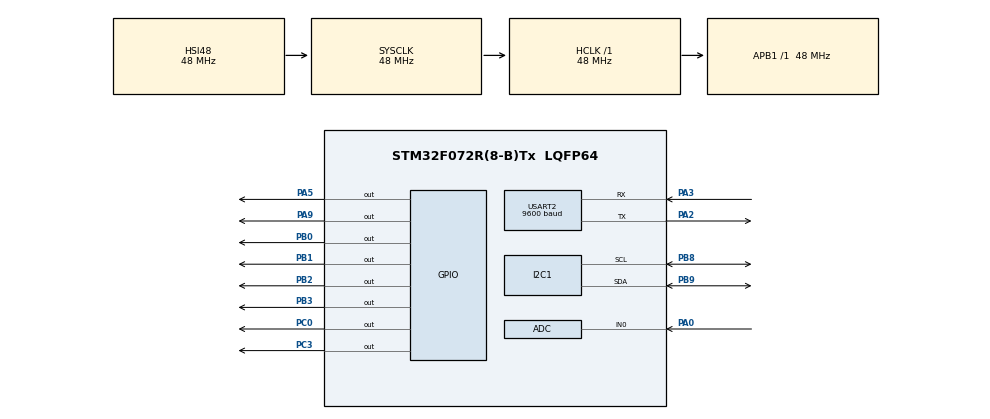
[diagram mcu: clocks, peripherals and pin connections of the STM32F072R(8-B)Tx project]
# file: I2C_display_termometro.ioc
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ADC.SamplingTime=ADC_SAMPLETIME_1CYCLE_5
Mcu.Family=STM32F0
Mcu.Name=STM32F072R(8-B)Tx
Mcu.Package=LQFP64
NVIC.ADC1_COMP_IRQn=true\:0\:0\:false\:false\:true\:true\:true
NVIC.I2C1_IRQn=true\:0\:0\:false\:false\:true\:true\:true
NVIC.TIM7_IRQn=true\:0\:0\:false\:false\:true\:true\:true
NVIC.USART2_IRQn=true\:0\:0\:false\:false\:true\:true\:true
PA0.Mode=IN0
PA0.Signal=ADC_IN0
PA2.Mode=Asynchronous
PA2.Signal=USART2_TX
PA3.Mode=Asynchronous
PA3.Signal=USART2_RX
PA5.Signal=GPIO_Output
PA9.Signal=GPIO_Output
PB0.Signal=GPIO_Output
PB1.Signal=GPIO_Output
PB2.Signal=GPIO_Output
PB3.Signal=GPIO_Output
PB8.Mode=I2C
PB8.Signal=I2C1_SCL
PB9.Mode=I2C
PB9.Signal=I2C1_SDA
PC0.Signal=GPIO_Output
PC3.Signal=GPIO_Output
ProjectManager.HeapSize=0x200
ProjectManager.StackSize=0x400
ProjectManager.TargetToolchain=MDK-ARM V5.27
RCC.AHBFreq_Value=48000000
RCC.APB1Freq_Value=48000000
RCC.APB1TimFreq_Value=48000000
RCC.HCLKFreq_Value=48000000
RCC.SYSCLKFreq_VALUE=48000000
RCC.SYSCLKSource=RCC_SYSCLKSOURCE_HSI48
TIM7.Period=48000
USART2.BaudRate=9600
USART2.VirtualMode-Asynchronous=VM_ASYNC
VP_ADC_Vref_Input.Mode=IN-Vrefint
VP_TIM7_VS_ClockSourceINT.Mode=Enable_Timer
board=custom

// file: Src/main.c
/* USER CODE BEGIN Header */
/**
  ******************************************************************************
  * @file           : main.c
  * @brief          : Main program body
  ******************************************************************************
  * @attention
  *
  * <h2><center>&copy; Copyright (c) 2019 STMicroelectronics.
  * All rights reserved.</center></h2>
  *
  * This software component is licensed by ST under BSD 3-Clause license,
  * the "License"; You may not use this file except in compliance with the
  * License. You may obtain a copy of the License at:
  *                        opensource.org/licenses/BSD-3-Clause
  *
  ******************************************************************************
  */
/* USER CODE END Header */

#include "main.h"

/* USER CODE BEGIN Includes */
extern int vec[3];
extern int wait;
extern int loops;
extern void led();
char * puntatore;
char msg[]={'P','o','t',':','.','.','.','.','.','%'};
int i=0;
int loaded=0;
int lenght_da_trasmettere;
//uint8_t initdata[]={0x38,0x39,0x14,0x74,0x54,0x6F,0x0F,0x01};
char initdata[]={0x00,0x38,0x00,0x39,0x00,0x14,0x00,0x74,0x00,0x54,0x00,0x6F,0x00,0x0F,0x00,0x01};
//int j=8;
int NBYTES =(2<<16);
extern int j;
/* USER CODE END Includes */

/* USER CODE BEGIN PTD */
/*
Descrizione del programma I2C display termometro.
L'obiettivo di questo programma è scrivere su un display la temperatura registrata dal termometro e
il potenziale registrato da una manopolo letta dall'adc.
è necessario dividere il programma in più parti:
-prima
*/
void wait_tim(){
	led();
	wait=1;
	TIM7->CNT=0;
	TIM7->SR=0;
	TIM7->CR1|=TIM_CR1_CEN;
	while(wait){}
	led();
}
/* USER CODE END PTD */

/* USER CODE BEGIN PD */
#define LCD_ADDRESS (0X3E<<1) //indirizzo lcd, ruotato a sx per lasciare bit di r/w
#define LM76_ADDRESS (0X48<<1) //indirizzo termometro
/* USER CODE END PD */

ADC_HandleTypeDef hadc;

I2C_HandleTypeDef hi2c1;

TIM_HandleTypeDef htim7;

UART_HandleTypeDef huart2;

void SystemClock_Config(void);
static void MX_GPIO_Init(void);
static void MX_ADC_Init(void);
static void MX_I2C1_Init(void);
static void MX_TIM7_Init(void);
static void MX_USART2_UART_Init(void);

int main(void)
{

  /* MCU Configuration--------------------------------------------------------*/

  /* Reset of all peripherals, Initializes the Flash interface and the Systick. */
  HAL_Init();

  /* Configure the system clock */
  SystemClock_Config();

  /* Initialize all configured peripherals */
  MX_GPIO_Init();
  MX_ADC_Init();
  MX_I2C1_Init();
  MX_TIM7_Init();
  MX_USART2_UART_Init();
  /* USER CODE BEGIN 2 */

	//abilito gli interrupt
	//del timer
	TIM7->SR=0;
	TIM7->DIER|=TIM_DIER_UIE;
	//e dell'adc

	ADC1->IER|=ADC_IER_ADRDYIE;
	ADC1->IER|=ADC_IER_EOCIE;

	//abilito e configuro l'adc
	//se fosse già abilitato lo disabilito per fare la calibrazione
	if ((ADC1->CR & ADC_CR_ADEN) != 0)
	{
		ADC1->CR |= ADC_CR_ADDIS;
	}
	//aspetto che non sia piu enable
	while ((ADC1->CR & ADC_CR_ADEN) != 0){}
	//faccio la calibrazione
	ADC1->CR|=ADC_CR_ADCAL;
	//ed aspetto che abbia finito
	while((ADC1->CR & ADC_CR_ADCAL)==ADC_CR_ADCAL){}
	//se adrdy fosse 1 la metto a 0
	if ((ADC1->ISR & ADC_ISR_ADRDY) != 0)
	{
		ADC1->ISR |= ADC_ISR_ADRDY;
	}
	//abilito
	ADC1->CHSELR&=~ADC_CHSELR_CHSEL0;
	ADC1->CR|=ADC_CR_ADEN;
	//verra triggerato l'interrupt quando sarà pronto

	//adesso dovrebbe essere stato registrato il valore vrefint_data
	//aspetto 1 millisecondo
	loops=1;
	wait_tim();

	//cambio il canale da cui leggere il dato nell'adc
	ADC1->CHSELR&=~ADC_CHSELR_CHSEL17;
	ADC1->CHSELR|=ADC_CHSELR_CHSEL0;
	//faccio ripartire la lettura
	ADC1->CR|=ADC_CR_ADSTART;

	//aspetto 10 millisecondi
	loops=100;
	wait_tim();

	//trasmetto con la USART
	//reset del interrupt control register al bit trasmission completed
	/*USART2->ICR |= USART_ICR_TCCF;
	//abilito l'interrupt per la trasmissione
	USART2->CR1 |= USART_CR1_TCIE;
	//abilito l'interrupt per la ricezione
	USART2->CR1 |= USART_CR1_RXNEIE;*/
	//inizio a trasmettere il messaggio

	//USART2->TDR=*puntatore;

	loops=10;
	wait_tim();
	GPIOA->ODR |= GPIO_ODR_5;
	loops=10;
	wait_tim();

	//inizio a lavorare con 'i2c
	I2C1->CR1|=I2C_CR1_RXIE;
	I2C1->CR1|=I2C_CR1_TXIE;
	I2C1->CR2|=I2C_CR2_AUTOEND;
	I2C1->CR1|=I2C_CR1_STOPIE;

	I2C1->CR2 |= NBYTES; //Setta il registro degli NBYTES al valore stabilito
	I2C1->CR2 |= LCD_ADDRESS; //Dà l'indirizzo dello schermo al microcontrollore
	I2C1->CR2 |= I2C_CR2_START; //Dà lo start-bit

  /* USER CODE END 2 */

  /* Infinite loop */
  while (1)
  {

  }
}

void SystemClock_Config(void)
{
  RCC_OscInitTypeDef RCC_OscInitStruct = {0};
  RCC_ClkInitTypeDef RCC_ClkInitStruct = {0};
  RCC_PeriphCLKInitTypeDef PeriphClkInit = {0};

  /** Initializes the CPU, AHB and APB busses clocks
  */
  RCC_OscInitStruct.OscillatorType = RCC_OSCILLATORTYPE_HSI|RCC_OSCILLATORTYPE_HSI14
                              |RCC_OSCILLATORTYPE_HSI48;
  RCC_OscInitStruct.HSIState = RCC_HSI_ON;
  RCC_OscInitStruct.HSI48State = RCC_HSI48_ON;
  RCC_OscInitStruct.HSI14State = RCC_HSI14_ON;
  RCC_OscInitStruct.HSICalibrationValue = RCC_HSICALIBRATION_DEFAULT;
  RCC_OscInitStruct.HSI14CalibrationValue = 16;
  RCC_OscInitStruct.PLL.PLLState = RCC_PLL_NONE;
  if (HAL_RCC_OscConfig(&RCC_OscInitStruct) != HAL_OK)
  {
    Error_Handler();
  }
  /** Initializes the CPU, AHB and APB busses clocks
  */
  RCC_ClkInitStruct.ClockType = RCC_CLOCKTYPE_HCLK|RCC_CLOCKTYPE_SYSCLK
                              |RCC_CLOCKTYPE_PCLK1;
  RCC_ClkInitStruct.SYSCLKSource = RCC_SYSCLKSOURCE_HSI48;
  RCC_ClkInitStruct.AHBCLKDivider = RCC_SYSCLK_DIV1;
  RCC_ClkInitStruct.APB1CLKDivider = RCC_HCLK_DIV1;

  if (HAL_RCC_ClockConfig(&RCC_ClkInitStruct, FLASH_LATENCY_1) != HAL_OK)
  {
    Error_Handler();
  }
  PeriphClkInit.PeriphClockSelection = RCC_PERIPHCLK_USART2|RCC_PERIPHCLK_I2C1;
  PeriphClkInit.Usart2ClockSelection = RCC_USART2CLKSOURCE_PCLK1;
  PeriphClkInit.I2c1ClockSelection = RCC_I2C1CLKSOURCE_HSI;
  if (HAL_RCCEx_PeriphCLKConfig(&PeriphClkInit) != HAL_OK)
  {
    Error_Handler();
  }
}

static void MX_ADC_Init(void)
{

  ADC_ChannelConfTypeDef sConfig = {0};

  /** Configure the global features of the ADC (Clock, Resolution, Data Alignment and number of conversion)
  */
  hadc.Instance = ADC1;
  hadc.Init.ClockPrescaler = ADC_CLOCK_ASYNC_DIV1;
  hadc.Init.Resolution = ADC_RESOLUTION_12B;
  hadc.Init.DataAlign = ADC_DATAALIGN_RIGHT;
  hadc.Init.ScanConvMode = ADC_SCAN_DIRECTION_FORWARD;
  hadc.Init.EOCSelection = ADC_EOC_SINGLE_CONV;
  hadc.Init.LowPowerAutoWait = DISABLE;
  hadc.Init.LowPowerAutoPowerOff = DISABLE;
  hadc.Init.ContinuousConvMode = DISABLE;
  hadc.Init.DiscontinuousConvMode = DISABLE;
  hadc.Init.ExternalTrigConv = ADC_SOFTWARE_START;
  hadc.Init.ExternalTrigConvEdge = ADC_EXTERNALTRIGCONVEDGE_NONE;
  hadc.Init.DMAContinuousRequests = DISABLE;
  hadc.Init.Overrun = ADC_OVR_DATA_PRESERVED;
  if (HAL_ADC_Init(&hadc) != HAL_OK)
  {
    Error_Handler();
  }
  /** Configure for the selected ADC regular channel to be converted.
  */
  sConfig.Channel = ADC_CHANNEL_0;
  sConfig.Rank = ADC_RANK_CHANNEL_NUMBER;
  sConfig.SamplingTime = ADC_SAMPLETIME_1CYCLE_5;
  if (HAL_ADC_ConfigChannel(&hadc, &sConfig) != HAL_OK)
  {
    Error_Handler();
  }
  /** Configure for the selected ADC regular channel to be converted.
  */
  sConfig.Channel = ADC_CHANNEL_VREFINT;
  if (HAL_ADC_ConfigChannel(&hadc, &sConfig) != HAL_OK)
  {
    Error_Handler();
  }

}

static void MX_I2C1_Init(void)
{

  hi2c1.Instance = I2C1;
  hi2c1.Init.Timing = 0x2000090E;
  hi2c1.Init.OwnAddress1 = 0;
  hi2c1.Init.AddressingMode = I2C_ADDRESSINGMODE_7BIT;
  hi2c1.Init.DualAddressMode = I2C_DUALADDRESS_DISABLE;
  hi2c1.Init.OwnAddress2 = 0;
  hi2c1.Init.OwnAddress2Masks = I2C_OA2_NOMASK;
  hi2c1.Init.GeneralCallMode = I2C_GENERALCALL_DISABLE;
  hi2c1.Init.NoStretchMode = I2C_NOSTRETCH_DISABLE;
  if (HAL_I2C_Init(&hi2c1) != HAL_OK)
  {
    Error_Handler();
  }
  /** Configure Analogue filter
  */
  if (HAL_I2CEx_ConfigAnalogFilter(&hi2c1, I2C_ANALOGFILTER_ENABLE) != HAL_OK)
  {
    Error_Handler();
  }
  /** Configure Digital filter
  */
  if (HAL_I2CEx_ConfigDigitalFilter(&hi2c1, 0) != HAL_OK)
  {
    Error_Handler();
  }

}

static void MX_TIM7_Init(void)
{

  TIM_MasterConfigTypeDef sMasterConfig = {0};

  htim7.Instance = TIM7;
  htim7.Init.Prescaler = 0;
  htim7.Init.CounterMode = TIM_COUNTERMODE_UP;
  htim7.Init.Period = 48000;
  htim7.Init.AutoReloadPreload = TIM_AUTORELOAD_PRELOAD_DISABLE;
  if (HAL_TIM_Base_Init(&htim7) != HAL_OK)
  {
    Error_Handler();
  }
  sMasterConfig.MasterOutputTrigger = TIM_TRGO_RESET;
  sMasterConfig.MasterSlaveMode = TIM_MASTERSLAVEMODE_DISABLE;
  if (HAL_TIMEx_MasterConfigSynchronization(&htim7, &sMasterConfig) != HAL_OK)
  {
    Error_Handler();
  }

}

static void MX_USART2_UART_Init(void)
{

  huart2.Instance = USART2;
  huart2.Init.BaudRate = 9600;
  huart2.Init.WordLength = UART_WORDLENGTH_8B;
  huart2.Init.StopBits = UART_STOPBITS_1;
  huart2.Init.Parity = UART_PARITY_NONE;
  huart2.Init.Mode = UART_MODE_TX_RX;
  huart2.Init.HwFlowCtl = UART_HWCONTROL_NONE;
  huart2.Init.OverSampling = UART_OVERSAMPLING_16;
  huart2.Init.OneBitSampling = UART_ONE_BIT_SAMPLE_DISABLE;
  huart2.AdvancedInit.AdvFeatureInit = UART_ADVFEATURE_NO_INIT;
  if (HAL_UART_Init(&huart2) != HAL_OK)
  {
    Error_Handler();
  }

}

static void MX_GPIO_Init(void)
{
  GPIO_InitTypeDef GPIO_InitStruct = {0};

  /* GPIO Ports Clock Enable */
  __HAL_RCC_GPIOC_CLK_ENABLE();
  __HAL_RCC_GPIOA_CLK_ENABLE();
  __HAL_RCC_GPIOB_CLK_ENABLE();

  /*Configure GPIO pin Output Level */
  HAL_GPIO_WritePin(GPIOC, GPIO_PIN_0|GPIO_PIN_3, GPIO_PIN_RESET);

  /*Configure GPIO pin Output Level */
  HAL_GPIO_WritePin(GPIOA, GPIO_PIN_5|GPIO_PIN_9, GPIO_PIN_RESET);

  /*Configure GPIO pin Output Level */
  HAL_GPIO_WritePin(GPIOB, GPIO_PIN_0|GPIO_PIN_1|GPIO_PIN_2|GPIO_PIN_3, GPIO_PIN_RESET);

  /*Configure GPIO pins : PC0 PC3 */
  GPIO_InitStruct.Pin = GPIO_PIN_0|GPIO_PIN_3;
  GPIO_InitStruct.Mode = GPIO_MODE_OUTPUT_PP;
  GPIO_InitStruct.Pull = GPIO_NOPULL;
  GPIO_InitStruct.Speed = GPIO_SPEED_FREQ_LOW;
  HAL_GPIO_Init(GPIOC, &GPIO_InitStruct);

  /*Configure GPIO pins : PA5 PA9 */
  GPIO_InitStruct.Pin = GPIO_PIN_5|GPIO_PIN_9;
  GPIO_InitStruct.Mode = GPIO_MODE_OUTPUT_PP;
  GPIO_InitStruct.Pull = GPIO_NOPULL;
  GPIO_InitStruct.Speed = GPIO_SPEED_FREQ_LOW;
  HAL_GPIO_Init(GPIOA, &GPIO_InitStruct);

  /*Configure GPIO pins : PB0 PB1 PB2 PB3 */
  GPIO_InitStruct.Pin = GPIO_PIN_0|GPIO_PIN_1|GPIO_PIN_2|GPIO_PIN_3;
  GPIO_InitStruct.Mode = GPIO_MODE_OUTPUT_PP;
  GPIO_InitStruct.Pull = GPIO_NOPULL;
  GPIO_InitStruct.Speed = GPIO_SPEED_FREQ_LOW;
  HAL_GPIO_Init(GPIOB, &GPIO_InitStruct);

}

void Error_Handler(void)
{
}

/************************ (C) COPYRIGHT STMicroelectronics *****END OF FILE****/
